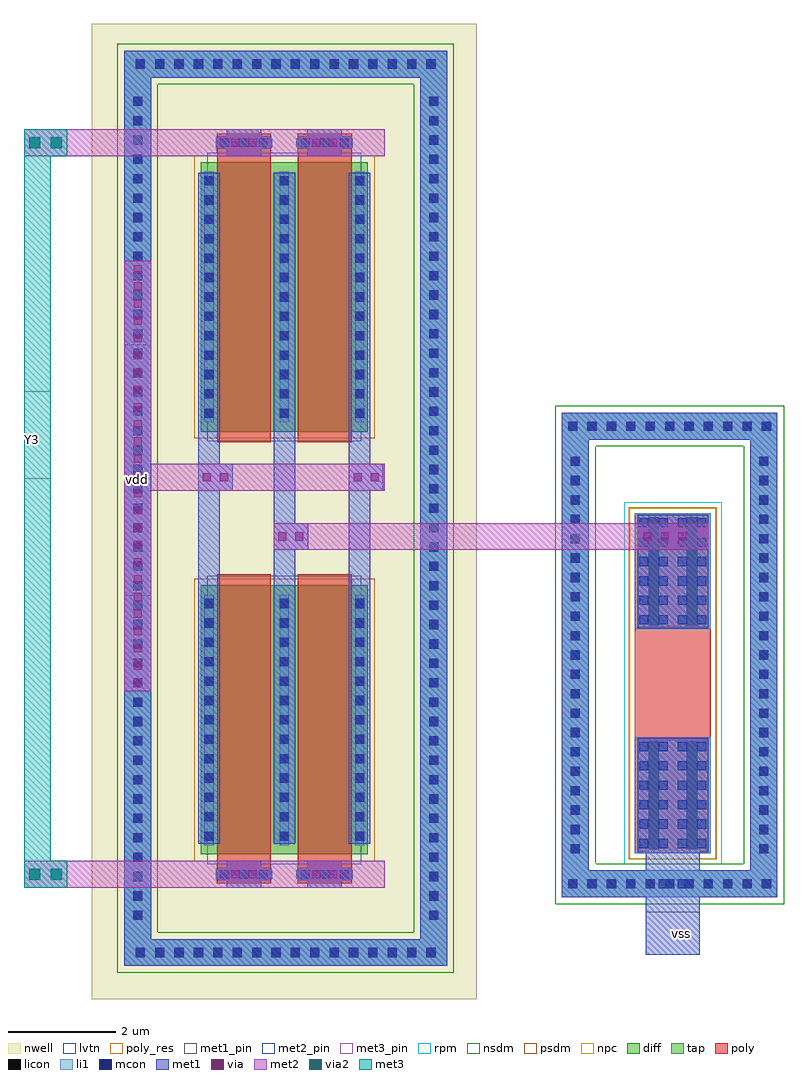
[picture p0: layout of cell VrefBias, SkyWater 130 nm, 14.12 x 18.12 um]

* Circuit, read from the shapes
.subckt VrefBias Y3 vdd vss
XM1 n1 Y3 vdd vdd sky130_fd_pr__pfet_01v8_lvt w=5 l=1 m=4
XR2 n1 vss vss sky130_fd_pr__res_high_po w=1.41 l=2
.ends

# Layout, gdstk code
from math import pi, radians
import gdstk
lib = gdstk.Library(unit=1e-6, precision=5e-09)
def R(c, l, rs):  # rectangles x0, y0, x1, y1
    for r in rs: c.add(gdstk.rectangle(r[:2], r[2:], *l))
def A(c, l, x, y, w, h, nx, ny, dx, dy):  # array of equal rectangles
    R(c, l, [(x+i*dx, y+j*dy, x+i*dx+w, y+j*dy+h) for i in range(nx) for j in range(ny)])
def P(c, l, *ps):  # polygons
    for p in ps: c.add(gdstk.Polygon(p, *l))
nwell = (64, 20)
diff = (65, 20)
tap = (65, 44)
poly_res = (66, 13)
poly = (66, 20)
licon = (66, 44)
li1 = (67, 20)
mcon = (67, 44)
met1_pin = (68, 16)
met1 = (68, 20)
via = (68, 44)
met2_pin = (69, 16)
met2 = (69, 20)
via2 = (69, 44)
met3_pin = (70, 16)
met3 = (70, 20)
rpm = (86, 20)
nsdm = (93, 44)
psdm = (94, 20)
npc = (95, 20)
lvtn = (125, 44)

pfet = lib.new_cell('pfet')
R(pfet, nwell, [(-0.305,-0.38,3.405,5.72)])
R(pfet, diff, [(0,0,3.1,5)])
R(pfet, poly, [(0.3,-0.2,1.3,5.2), (1.8,-0.2,2.8,5.2), (0.3,5.2,1.3,5.53), (1.8,5.2,2.8,5.53)])
A(pfet, licon, 0.065, 0.255, 0.17, 0.17, 3, 13, 1.4, 0.36)
A(pfet, licon, 0.355, 5.28, 0.17, 0.17, 3, 1, 0.36, 0)
A(pfet, licon, 1.855, 5.28, 0.17, 0.17, 3, 1, 0.36, 0)
A(pfet, li1, 0.065, 0.175, 0.17, 4.65, 3, 1, 1.4, 0)
R(pfet, li1, [(0.275,5.28,1.325,5.45), (1.775,5.28,2.825,5.45)])
A(pfet, mcon, 0.065, 0.255, 0.17, 0.17, 3, 13, 1.4, 0.36)
A(pfet, mcon, 0.355, 5.28, 0.17, 0.17, 3, 1, 0.36, 0)
A(pfet, mcon, 1.855, 5.28, 0.17, 0.17, 3, 1, 0.36, 0)
A(pfet, met1, 0.035, 0.195, 0.23, 4.61, 3, 1, 1.4, 0)
R(pfet, met1, [(0.295,5.25,1.305,5.48), (1.795,5.25,2.805,5.48)])
R(pfet, psdm, [(-0.125,-0.125,3.225,5.125)])
R(pfet, npc, [(0.29,5.19,1.31,5.54), (1.79,5.19,2.81,5.54)])
R(pfet, lvtn, [(0.12,-0.18,2.98,5.18)])

vias_gen = lib.new_cell('vias_gen')
R(vias_gen, met1, [(0,0,0.64,0.5)])
R(vias_gen, via, [(0.085,0.175,0.235,0.325), (0.405,0.175,0.555,0.325)])
R(vias_gen, met2, [(0,0,0.64,0.5)])

guard_ring_gen = lib.new_cell('guard_ring_gen')
P(guard_ring_gen, tap, [(-0.5,-0.5),(-0.5,16),(0,16),(0,0),(5,0),(5,16),(-0.5,16),(-0.5,16.5),(5.5,16.5),(5.5,-0.5)])
A(guard_ring_gen, licon, -0.285, -0.335, 0.17, 0.17, 16, 2, 0.36, 16.5)
A(guard_ring_gen, licon, -0.335, 0.355, 0.17, 0.17, 1, 43, 0, 0.36)
A(guard_ring_gen, licon, 5.165, 0.355, 0.17, 0.17, 1, 43, 0, 0.36)
P(guard_ring_gen, li1, [(-0.5,-0.5),(-0.5,16),(0,16),(0,0),(5,0),(5,16),(-0.5,16),(-0.5,16.5),(5.5,16.5),(5.5,-0.5)])
A(guard_ring_gen, mcon, -0.285, -0.335, 0.17, 0.17, 16, 2, 0.36, 16.5)
A(guard_ring_gen, mcon, -0.335, 0.355, 0.17, 0.17, 1, 43, 0, 0.36)
A(guard_ring_gen, mcon, 5.165, 0.355, 0.17, 0.17, 1, 43, 0, 0.36)
P(guard_ring_gen, met1, [(-0.5,-0.5),(-0.5,16),(0,16),(0,0),(5,0),(5,16),(-0.5,16),(-0.5,16.5),(5.5,16.5),(5.5,-0.5)])
P(guard_ring_gen, nsdm, [(-0.625,-0.625),(-0.625,15.875),(0.125,15.875),(0.125,0.125),(4.875,0.125),(4.875,15.875),(-0.625,15.875),(-0.625,16.625),(5.625,16.625),(5.625,-0.625)])

res_poly = lib.new_cell('res_poly')
R(res_poly, poly_res, [(-0.705,-1.06,0.705,1.06)])
R(res_poly, poly, [(-0.705,-3.16,0.705,3.16)])
R(res_poly, licon, [(-0.45,-3.08,-0.26,-1.08), (0.26,-3.08,0.45,-1.08), (-0.45,1.08,-0.26,3.08), (0.26,1.08,0.45,3.08)])
R(res_poly, li1, [(-0.705,-3.16,0.705,-1), (-0.705,1,0.705,3.16)])
A(res_poly, mcon, -0.625, -3.06, 0.17, 0.17, 4, 6, 0.36, 0.36)
A(res_poly, mcon, -0.625, 1.095, 0.17, 0.17, 4, 6, 0.36, 0.36)
R(res_poly, met1, [(-0.655,-3.13,0.655,-1.025), (-0.655,1.025,0.655,3.13)])
R(res_poly, rpm, [(-0.905,-3.36,0.905,3.36)])
R(res_poly, psdm, [(-0.815,-3.27,0.815,3.27)])
R(res_poly, npc, [(-0.8,-3.255,0.8,3.255)])

vias_gen_5 = lib.new_cell('vias_gen$5')
R(vias_gen_5, met1, [(0,0,8,0.5)])
A(vias_gen_5, via, 0.085, 0.175, 0.15, 0.15, 25, 1, 0.32, 0)
R(vias_gen_5, met2, [(0,0,8,0.5)])

vias_gen_2 = lib.new_cell('vias_gen$2')
R(vias_gen_2, met1, [(0,0,1,0.5)])
A(vias_gen_2, via, 0.105, 0.175, 0.15, 0.15, 3, 1, 0.32, 0)
R(vias_gen_2, met2, [(0,0,1,0.5)])

vias_gen_4 = lib.new_cell('vias_gen$4')
R(vias_gen_4, li1, [(0,0,1,0.5)])
R(vias_gen_4, mcon, [(0.235,0.165,0.405,0.335), (0.595,0.165,0.765,0.335)])
R(vias_gen_4, met1, [(0,0,1,0.5)])

vias_gen_7 = lib.new_cell('vias_gen$7')
R(vias_gen_7, met2, [(0,0,0.8,0.5)])
R(vias_gen_7, via2, [(0.1,0.15,0.3,0.35), (0.5,0.15,0.7,0.35)])
R(vias_gen_7, met3, [(0,0,0.8,0.5)])

guard_ring_gen_1 = lib.new_cell('guard_ring_gen$1')
P(guard_ring_gen_1, tap, [(-0.5,-0.5),(-0.5,8),(0,8),(0,0),(3,0),(3,8),(-0.5,8),(-0.5,8.5),(3.5,8.5),(3.5,-0.5)])
A(guard_ring_gen_1, licon, -0.385, -0.335, 0.17, 0.17, 11, 2, 0.36, 8.5)
A(guard_ring_gen_1, licon, -0.335, 0.315, 0.17, 0.17, 1, 21, 0, 0.36)
A(guard_ring_gen_1, licon, 3.165, 0.315, 0.17, 0.17, 1, 21, 0, 0.36)
P(guard_ring_gen_1, li1, [(-0.5,-0.5),(-0.5,8),(0,8),(0,0),(3,0),(3,8),(-0.5,8),(-0.5,8.5),(3.5,8.5),(3.5,-0.5)])
A(guard_ring_gen_1, mcon, -0.385, -0.335, 0.17, 0.17, 11, 2, 0.36, 8.5)
A(guard_ring_gen_1, mcon, -0.335, 0.315, 0.17, 0.17, 1, 21, 0, 0.36)
A(guard_ring_gen_1, mcon, 3.165, 0.315, 0.17, 0.17, 1, 21, 0, 0.36)
P(guard_ring_gen_1, met1, [(-0.5,-0.5),(-0.5,8),(0,8),(0,0),(3,0),(3,8),(-0.5,8),(-0.5,8.5),(3.5,8.5),(3.5,-0.5)])
P(guard_ring_gen_1, nsdm, [(-0.625,-0.625),(-0.625,7.875),(0.125,7.875),(0.125,0.125),(2.875,0.125),(2.875,7.875),(-0.625,7.875),(-0.625,8.625),(3.625,8.625),(3.625,-0.625)])

vrefbias = lib.new_cell('VrefBias')
R(vrefbias, nwell, [(8.705,1.555,15.855,19.675)])
R(vrefbias, met1_pin, [(19,2.385,20,3.185)])
R(vrefbias, met2_pin, [(9.31,9.05,9.81,13.715)])
R(vrefbias, met3_pin, [(7.45,11.22,7.95,12.845)])
vrefbias.add(gdstk.FlexPath([(14.15,11.255),(9.31,11.255)], 0.5, ends="flush", simple_path=True, layer=69, datatype=20))  # met2
vrefbias.add(gdstk.FlexPath([(20.155,10.15),(12.085,10.15)], 0.5, ends="flush", simple_path=True, layer=69, datatype=20))  # met2
vrefbias.add(gdstk.FlexPath([(14.15,3.88),(7.45,3.88)], 0.5, ends="flush", simple_path=True, layer=69, datatype=20))  # met2
vrefbias.add(gdstk.FlexPath([(14.15,17.465),(7.45,17.465)], 0.5, ends="flush", simple_path=True, layer=69, datatype=20))  # met2
vrefbias.add(gdstk.FlexPath([(7.7,17.715),(7.7,3.63)], 0.5, ends="flush", simple_path=True, layer=70, datatype=20))  # met3
vrefbias.add(gdstk.FlexPath([(10.885,16.905),(10.885,4.44)], 0.4, ends="flush", simple_path=True, layer=68, datatype=20))  # met1
vrefbias.add(gdstk.FlexPath([(12.285,16.905),(12.285,4.44)], 0.4, ends="flush", simple_path=True, layer=68, datatype=20))  # met1
vrefbias.add(gdstk.FlexPath([(13.685,16.905),(13.685,4.44)], 0.4, ends="flush", simple_path=True, layer=68, datatype=20))  # met1
vrefbias.add(gdstk.FlexPath([(19.5,6.25),(19.5,2.385)], 1, ends="flush", simple_path=True, layer=68, datatype=20))  # met1
vrefbias.add(gdstk.Reference(pfet, (10.735,12.1)))
vrefbias.add(gdstk.Reference(pfet, (13.835,9.245), rotation=pi))
vrefbias.add(gdstk.Reference(vias_gen, (10.685,11.005)))
vrefbias.add(gdstk.Reference(vias_gen, (13.485,11.005)))
vrefbias.add(gdstk.Reference(vias_gen, (12.085,9.9)))
vrefbias.add(gdstk.Reference(vias_gen, (11.215,17.215)))
vrefbias.add(gdstk.Reference(vias_gen, (12.715,17.215)))
vrefbias.add(gdstk.Reference(vias_gen, (11.215,3.63)))
vrefbias.add(gdstk.Reference(vias_gen, (12.715,3.63)))
vrefbias.add(gdstk.Reference(guard_ring_gen, (9.81,2.675)))
vrefbias.add(gdstk.Reference(res_poly, (19.5,7.425)))
vrefbias.add(gdstk.Reference(vias_gen_5, (9.31,15.275), rotation=3*pi/2))
vrefbias.add(gdstk.Reference(vias_gen_2, (18.85,9.9)))
vrefbias.add(gdstk.Reference(vias_gen_4, (19,3.45)))
vrefbias.add(gdstk.Reference(vias_gen_7, (7.45,17.215)))
vrefbias.add(gdstk.Reference(vias_gen_7, (7.45,3.63)))
vrefbias.add(gdstk.Reference(guard_ring_gen_1, (17.94,3.95)))
vrefbias.add(gdstk.Label('Y3', (7.6,11.95), layer=70, texttype=16))
vrefbias.add(gdstk.Label('vss', (19.67,2.77), layer=68, texttype=16))
vrefbias.add(gdstk.Label('vdd', (9.56,11.215), layer=69, texttype=16))

lib.write_gds('VrefBias.gds')
